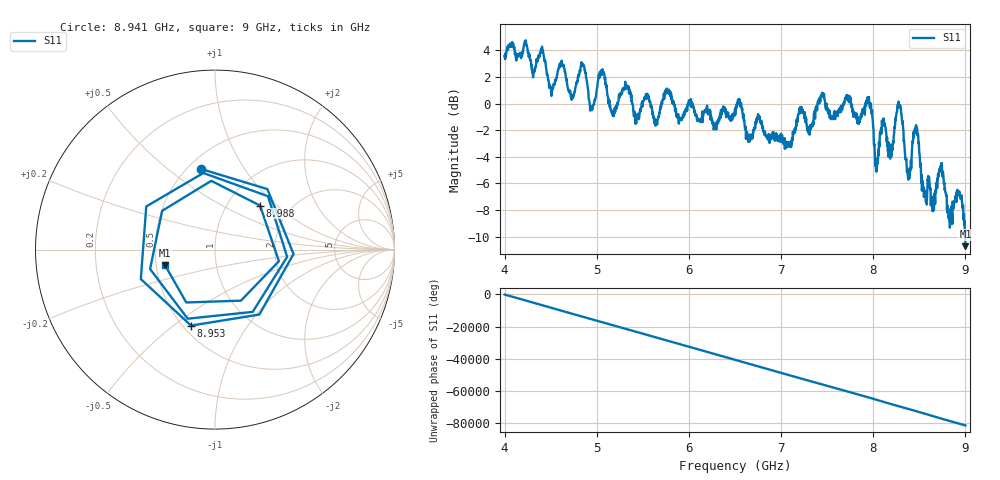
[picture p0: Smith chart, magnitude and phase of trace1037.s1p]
! Created with skrf 1.8.0 (http://scikit-rf.org).
# Hz S RI R 50.0
!freq ReS11 ImS11
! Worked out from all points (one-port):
!   1601 points, 4 GHz to 9 GHz, reference 50 ohm
!   lowest |S11| = -10.7 dB at 9 GHz (marker M1), VSWR 1.82, Z = 27.9 - j5.32 ohm
!   |S11| at or under -10 dB: 8.998252 GHz to end of sweep
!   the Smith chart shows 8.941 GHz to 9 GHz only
!   S11 on the Smith chart (normalised r, x): 8.941 GHz: 0.58, +0.66; 8.953 GHz: 0.55, -0.58; 8.988 GHz: 1.41, +0.79; 9 GHz: 0.56, -0.11
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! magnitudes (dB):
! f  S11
! 4 GHz  3.5
! 4.403 GHz  4.0
! 4.509 GHz  1.0
! 4.625 GHz  2.9
! 4.731 GHz  0.4
! 4.853 GHz  2.8
! 4.944 GHz  -0.5
! 5.056 GHz  2.2
! 5.166 GHz  -0.7
! 5.25 GHz  0.5
! 5.875 GHz  -0.8
! 6.5 GHz  -0.4
! 7.125 GHz  -2.7
! 7.75 GHz  0.4
! 7.953 GHz  0.5
! 8.034 GHz  -4.6
! 8.109 GHz  -1.1
! 8.197 GHz  -4.0
! 8.284 GHz  -0.3
! 8.375 GHz  -5.4
! 8.462 GHz  -1.7
! 8.559 GHz  -7.0
! 8.734 GHz  -4.7
! 8.834 GHz  -9.2
! 8.941 GHz  -6.8
! 8.953 GHz  -7.1
! 8.988 GHz  -9.1
! 9 GHz  -10.7
